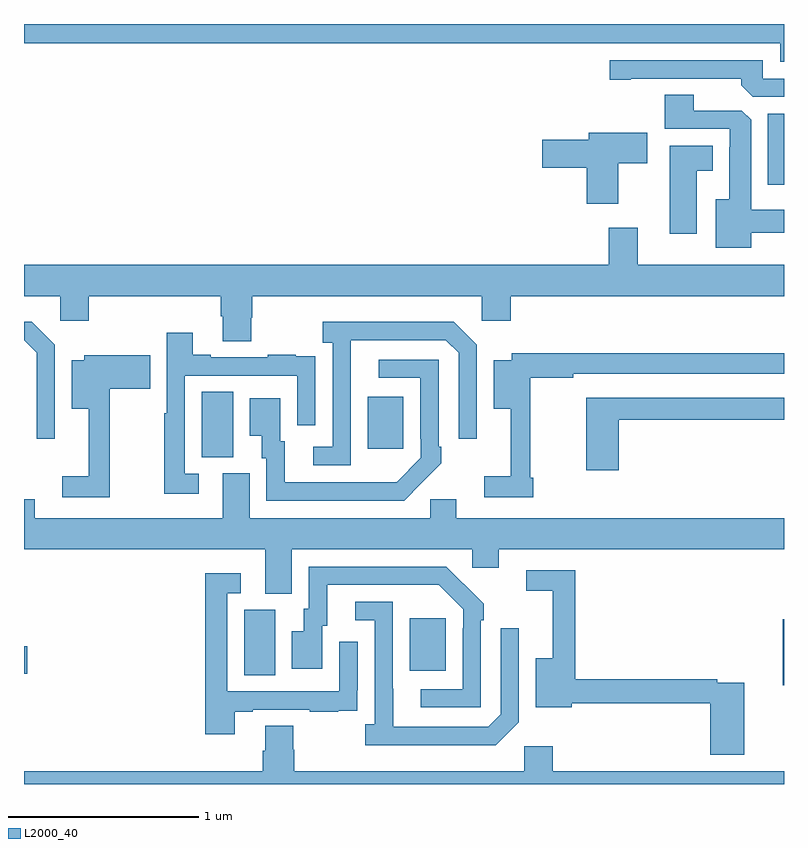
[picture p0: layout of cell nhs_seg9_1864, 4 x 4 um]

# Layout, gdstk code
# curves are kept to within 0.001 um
import gdstk
lib = gdstk.Library(unit=1e-6, precision=1e-09)
def R(c, l, rs):  # rectangles x0, y0, x1, y1
    for r in rs: c.add(gdstk.rectangle(r[:2], r[2:], *l))
def P(c, l, *ps):  # polygons
    for p in ps: c.add(gdstk.Polygon(p, *l))
L2000_40 = (2000, 40)

nhs_seg9_1864 = lib.new_cell('nhs_seg9_1864')
R(nhs_seg9_1864, L2000_40, [(218.993,1213.019,219,1213.367), (216.158,1213.072,216.322,1213.416), (215,1213.079,215.017,1213.226), (217.031,1213.097,217.219,1213.372), (215.936,1214.221,216.1,1214.564), (216.809,1214.265,216.997,1214.539), (218.915,1215.653,219,1216.027)])
P(nhs_seg9_1864, L2000_40, [(219,1216.5),(215,1216.5),(215,1216.4),(218.981,1216.4),(218.981,1216.301),(219,1216.301)],
  [(219,1216.212),(218.889,1216.212),(218.889,1216.308),(218.082,1216.308),(218.082,1216.207),(218.194,1216.207),(218.194,1216.212),(218.774,1216.212),(218.774,1216.178),(218.835,1216.116),(219,1216.116)],
  [(218.827,1215.401),(219,1215.401),(219,1215.523),(218.827,1215.523),(218.827,1215.995),(218.778,1216.044),(218.524,1216.044),(218.524,1216.127),(218.372,1216.127),(218.372,1215.948),(218.715,1215.948),(218.715,1215.851),(218.711,1215.851),(218.711,1215.577),(218.642,1215.577),(218.642,1215.323),(218.827,1215.323)],
  [(218.128,1215.766),(218.281,1215.766),(218.281,1215.928),(217.973,1215.928),(217.973,1215.89),(217.728,1215.89),(217.728,1215.743),(217.961,1215.743),(217.961,1215.555),(218.128,1215.555)],
  [(218.542,1215.728),(218.626,1215.728),(218.626,1215.859),(218.399,1215.859),(218.399,1215.396),(218.542,1215.396)],
  [(216.195,1214.955),(216.2,1214.955),(216.2,1215.068),(217.41,1215.068),(217.41,1214.937),(217.562,1214.937),(217.562,1215.068),(219,1215.068),(219,1215.232),(218.23,1215.232),(218.23,1215.427),(218.078,1215.427),(218.078,1215.232),(215,1215.232),(215,1215.068),(215.19,1215.068),(215.19,1214.937),(215.342,1214.937),(215.342,1215.068),(216.035,1215.068),(216.035,1214.962),(216.047,1214.962),(216.047,1214.83),(216.195,1214.83)],
  [(215.163,1214.811),(215.042,1214.932),(215,1214.932),(215,1214.835),(215.001,1214.835),(215.067,1214.769),(215.067,1214.316),(215.163,1214.316)],
  [(216.72,1214.635),(216.721,1214.835),(217.221,1214.835),(217.287,1214.769),(217.287,1214.316),(217.383,1214.316),(217.383,1214.811),(217.262,1214.932),(216.573,1214.932),(216.573,1214.822),(216.624,1214.822),(216.624,1214.274),(216.522,1214.274),(216.522,1214.178),(216.72,1214.178)],
  [(215.92,1214.133),(215.847,1214.133),(215.847,1214.649),(216.438,1214.649),(216.438,1214.388),(216.534,1214.388),(216.534,1214.642),(216.533,1214.642),(216.533,1214.751),(216.431,1214.751),(216.431,1214.758),(216.283,1214.758),(216.283,1214.745),(215.983,1214.745),(215.983,1214.758),(215.887,1214.758),(215.887,1214.875),(215.751,1214.875),(215.751,1214.451),(215.739,1214.451),(215.739,1214.028),(215.92,1214.028)],
  [(217.679,1214.113),(217.664,1214.113),(217.664,1214.638),(217.892,1214.638),(217.892,1214.658),(219,1214.658),(219,1214.767),(217.566,1214.767),(217.566,1214.731),(217.472,1214.731),(217.472,1214.474),(217.562,1214.474),(217.562,1214.119),(217.422,1214.119),(217.422,1214.01),(217.679,1214.01)],
  [(215.452,1214.58),(215.665,1214.58),(215.665,1214.757),(215.316,1214.757),(215.316,1214.731),(215.252,1214.731),(215.252,1214.474),(215.342,1214.474),(215.342,1214.119),(215.202,1214.119),(215.202,1214.01),(215.452,1214.01)],
  [(217.091,1214.083),(217.092,1214.082),(217.197,1214.187),(217.197,1214.275),(217.182,1214.275),(217.182,1214.733),(216.867,1214.733),(216.867,1214.637),(217.086,1214.637),(217.086,1214.317),(217.089,1214.317),(217.089,1214.217),(216.961,1214.089),(216.373,1214.088),(216.373,1214.304),(216.349,1214.304),(216.349,1214.53),(216.188,1214.53),(216.188,1214.333),(216.251,1214.333),(216.251,1214.214),(216.276,1214.214),(216.276,1213.992),(217,1213.992)],
  [(218.129,1214.416),(219,1214.416),(219,1214.532),(217.958,1214.532),(217.958,1214.151),(218.129,1214.151)],
  [(216.409,1213.736),(217.359,1213.736),(217.359,1213.638),(217.498,1213.638),(217.498,1213.736),(219,1213.736),(219,1213.9),(217.276,1213.9),(217.276,1213.998),(217.137,1213.998),(217.137,1213.9),(216.187,1213.9),(216.187,1214.136),(216.047,1214.136),(216.047,1213.9),(215.056,1213.9),(215.056,1213.998),(215,1213.998),(215,1213.736),(216.269,1213.736),(216.269,1213.501),(216.409,1213.501)],
  [(217.404,1213.361),(217.419,1213.361),(217.419,1213.449),(217.222,1213.644),(216.498,1213.644),(216.498,1213.422),(216.473,1213.422),(216.473,1213.303),(216.41,1213.303),(216.41,1213.107),(216.571,1213.107),(216.571,1213.332),(216.595,1213.332),(216.595,1213.548),(217.183,1213.548),(217.311,1213.419),(217.311,1213.319),(217.308,1213.319),(217.308,1212.999),(217.089,1212.999),(217.089,1212.903),(217.404,1212.903)],
  [(218.79,1213.032),(218.648,1213.032),(218.648,1213.052),(217.901,1213.052),(217.901,1213.626),(217.644,1213.626),(217.644,1213.518),(217.784,1213.518),(217.784,1213.162),(217.694,1213.162),(217.694,1212.905),(217.882,1212.905),(217.882,1212.924),(218.612,1212.924),(218.612,1212.653),(218.79,1212.653)],
  [(216.109,1212.879),(216.205,1212.879),(216.205,1212.891),(216.505,1212.891),(216.505,1212.879),(216.653,1212.879),(216.653,1212.885),(216.755,1212.885),(216.755,1212.994),(216.756,1212.994),(216.756,1213.249),(216.66,1213.249),(216.66,1212.987),(216.069,1212.987),(216.069,1213.503),(216.142,1213.503),(216.142,1213.609),(215.953,1213.609),(215.953,1212.762),(216.109,1212.762)],
  [(217.605,1212.825),(217.605,1213.321),(217.509,1213.321),(217.509,1212.867),(217.443,1212.801),(216.943,1212.801),(216.942,1213.458),(216.744,1213.458),(216.744,1213.362),(216.846,1213.362),(216.846,1212.814),(216.795,1212.814),(216.795,1212.704),(217.484,1212.704)],
  [(219,1212.568),(217.784,1212.568),(217.784,1212.7),(217.632,1212.7),(217.632,1212.568),(216.422,1212.568),(216.422,1212.681),(216.417,1212.681),(216.417,1212.806),(216.269,1212.806),(216.269,1212.674),(216.257,1212.674),(216.257,1212.568),(215,1212.568),(215,1212.5),(219,1212.5)])

lib.write_gds('nhs_seg9_1864.gds')
